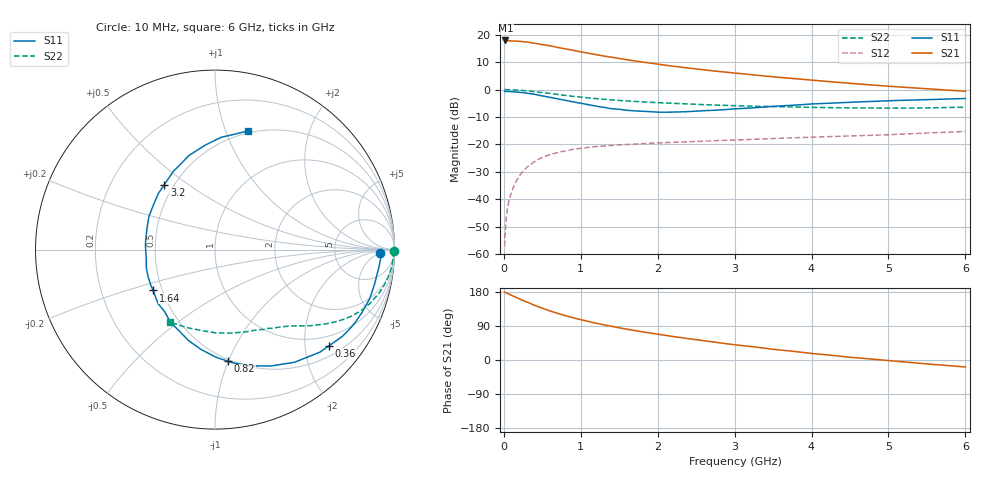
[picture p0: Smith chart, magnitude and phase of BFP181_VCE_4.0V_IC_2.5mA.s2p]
! Infineon Technologies  Discrete & RF Semiconductors
! BFP181
! VCE = 4.0 V,  IC =  2.5 mA
! Common Emitter S-Parameters:  Jan 2016
# GHz  S  MA  R  50
!  f  S11  S21  S12  S22
! GHz  MAG  ANG  MAG  ANG  MAG  ANG  MAG  ANG
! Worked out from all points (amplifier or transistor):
!   210 points, 10 MHz to 6 GHz, reference 50 ohm
!   highest |S21| = 17.9 dB at 20 MHz (marker M1)
!   |S21| within 3 dB of that: start of sweep to 797.5 MHz
!   unconditionally stable (mu >= 1): 2.281 GHz to end of sweep
!   at 185 MHz: K = 0.10, MSG = 24.9 dB, |S12| = -32.2 dB
!   at 1.52 GHz: K = 0.75, MSG = 15.7 dB, |S12| = -20.2 dB
!   at 6 GHz: K = 1.12, MAG = 5.3 dB, |S12| = -15.3 dB
!   S11 on the Smith chart (normalised r, x): 10 MHz: 23, -6; 360 MHz: 0.74, -2.55; 820 MHz: 0.49, -1.00; 1.64 GHz: 0.45, -0.24; 3.2 GHz: 0.44, +0.41; 6 GHz: 0.48, +1.20
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0.01  0.921 -1.2  7.766 179.1  0.0014 78.5  0.9954 -0.5
0.02  0.9253 -2.6  7.824 178.5  0.0028 87.4  0.993 -0.9
0.05  0.9197 -5.6  7.76 175.3  0.0072 90.4  0.993 -2.6
0.115  0.9078 -13.3  7.64 169.4  0.0156 81.3  0.9874 -6.0
0.15  0.9042 -17.5  7.658 166.0  0.0199 80.2  0.9819 -7.8
0.24  0.8801 -27.5  7.448 157.7  0.0312 73.8  0.9617 -12.1
0.3  0.8591 -34.2  7.339 153.0  0.0382 70.0  0.9456 -14.9
0.36  0.8311 -40.1  7.1 147.8  0.0444 66.1  0.9258 -17.4
0.4  0.8177 -44.3  6.976 144.1  0.0487 64.1  0.9136 -19.2
0.48  0.7758 -52.6  6.643 137.9  0.056 59.9  0.887 -22.1
0.6  0.7211 -64.0  6.261 129.3  0.0653 54.3  0.8452 -26.1
0.82  0.6265 -83.4  5.457 115.7  0.0773 46.2  0.7734 -31.6
1.02  0.554 -99.6  4.783 105.3  0.0859 40.7  0.7208 -35.4
1.3  0.4743 -121.7  4.074 92.8  0.0937 35.0  0.6637 -39.7
1.64  0.4133 -146.6  3.417 80.0  0.1002 30.8  0.6131 -43.9
2.02  0.3863 -172.8  2.867 67.5  0.1068 27.5  0.5742 -48.4
2.4  0.396 163.8  2.46 56.2  0.1122 25.1  0.5455 -53.4
3.1  0.451 131.5  1.934 38.1  0.1215 22.2  0.5022 -63.3
3.2  0.4591 127.9  1.872 35.9  0.1232 21.8  0.4984 -64.8
4.1  0.5519 103.0  1.444 15.5  0.1368 18.3  0.4704 -81.1
5.1  0.6306 85.6  1.122 -3.3  0.1521 15.1  0.4571 -102.0
6  0.6864 74.4  0.929 -18.5  0.1716 11.5  0.4751 -121.7
